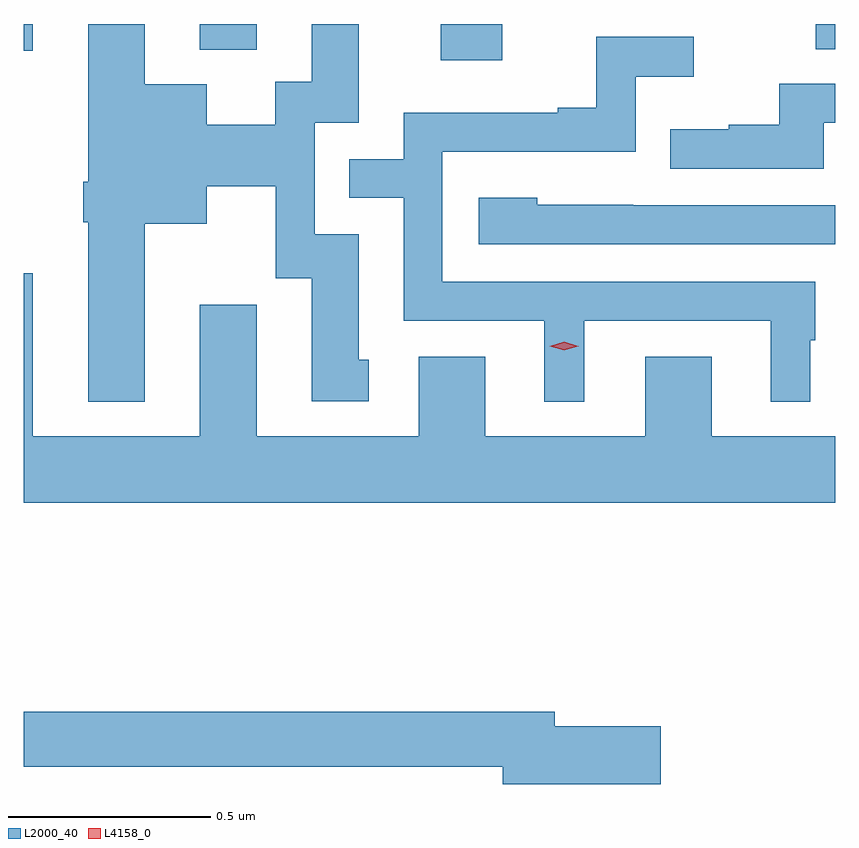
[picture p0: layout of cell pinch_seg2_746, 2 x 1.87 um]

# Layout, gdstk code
import gdstk
lib = gdstk.Library(unit=1e-6, precision=1e-09)
def R(c, l, rs):  # rectangles x0, y0, x1, y1
    for r in rs: c.add(gdstk.rectangle(r[:2], r[2:], *l))
def P(c, l, *ps):  # polygons
    for p in ps: c.add(gdstk.Polygon(p, *l))
L2000_40 = (2000, 40)
L4158_0 = (4158, 0)

pinch_seg2_746 = lib.new_cell('pinch_seg2_746')
R(pinch_seg2_746, L2000_40, [(818.093,662.046,818.245,662.136), (817.065,662.07,817.087,662.136), (817.499,662.072,817.639,662.136), (819.018,662.074,819.065,662.136)])
P(pinch_seg2_746, L2000_40, [(817.363,661.643),(817.516,661.643),(817.516,661.736),(817.686,661.736),(817.686,661.509),(817.775,661.509),(817.775,661.206),(817.915,661.206),(817.915,661.308),(817.891,661.308),(817.891,661.617),(817.782,661.617),(817.782,661.893),(817.891,661.893),(817.891,662.136),(817.775,662.136),(817.775,661.994),(817.685,661.994),(817.685,661.888),(817.516,661.888),(817.516,661.987),(817.363,661.987),(817.363,662.136),(817.223,662.136),(817.223,661.747),(817.211,661.747),(817.211,661.647),(817.223,661.647),(817.223,661.205),(817.363,661.205)],
  [(818.446,661.404),(818.906,661.404),(818.906,661.205),(819.004,661.205),(819.004,661.356),(819.016,661.356),(819.016,661.5),(818.097,661.5),(818.097,661.821),(818.574,661.821),(818.574,662.006),(818.716,662.006),(818.716,662.105),(818.476,662.105),(818.476,661.93),(818.381,661.93),(818.381,661.917),(818.001,661.917),(818.001,661.803),(817.867,661.803),(817.867,661.707),(818.001,661.707),(818.001,661.404),(818.348,661.404),(818.348,661.205),(818.446,661.205)],
  [(819.037,661.892),(819.065,661.892),(819.065,661.989),(818.927,661.989),(818.927,661.888),(818.803,661.888),(818.803,661.876),(818.659,661.876),(818.659,661.779),(819.037,661.779)],
  [(819.065,661.689),(818.567,661.689),(818.567,661.69),(818.331,661.69),(818.331,661.708),(818.187,661.708),(818.187,661.593),(819.065,661.593)],
  [(819.065,661.12),(818.761,661.12),(818.761,661.315),(818.597,661.315),(818.597,661.12),(818.203,661.12),(818.203,661.315),(818.039,661.315),(818.039,661.12),(817.639,661.12),(817.639,661.444),(817.499,661.444),(817.499,661.12),(817.087,661.12),(817.087,661.522),(817.065,661.522),(817.065,660.956),(819.065,660.956)],
  [(818.635,660.404),(818.374,660.404),(818.374,660.44),(817.065,660.44),(817.065,660.304),(818.246,660.304),(818.246,660.262),(818.635,660.262)])
P(pinch_seg2_746, L4158_0, [(818.397,661.332),(818.362,661.342),(818.362,661.342),(818.362,661.342),(818.397,661.352),(818.432,661.342),(818.433,661.342),(818.432,661.342)])

lib.write_gds('pinch_seg2_746.gds')
